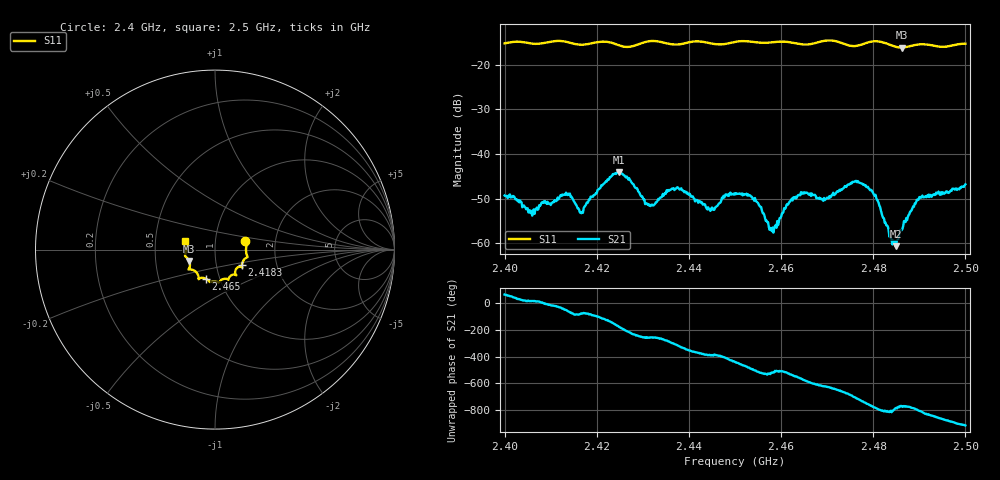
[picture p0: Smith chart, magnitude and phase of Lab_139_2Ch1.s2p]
# Hz S RI R 50
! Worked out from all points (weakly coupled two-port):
!   601 points, 2.4 GHz to 2.5 GHz, reference 50 ohm
!   highest |S21| = -44.11 dB at 2.4248 GHz (marker M1); lowest = -60.7 dB at 2.4848 GHz (marker M2)
!   lowest |S11| = -16.1 dB at 2.4862 GHz (marker M3), VSWR 1.37, Z = 37.2 - j4.81 ohm
!   |S11| at or under -10 dB: start of sweep to end of sweep
!   S12 and S22 are empty: the file has one direction only
!   S11 on the Smith chart (normalised r, x): 2.4 GHz: 1.40, +0.13; 2.4183 GHz: 1.33, -0.24; 2.465 GHz: 0.86, -0.28; 2.5 GHz: 0.71, +0.07
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2.4e9  0.1685 0.0466  0.00147 0.00308  0 0  0 0
2.406e9  0.1735 0.00865  0.00195 0.000556  0 0  0 0
2.413667e9  0.1749 -0.0452  0.00177 -0.00297  0 0  0 0
2.416667e9  0.1546 -0.0676  0.000519 -0.0021  0 0  0 0
2.418333e9  0.1498 -0.0864  0.00029 -0.00309  0 0  0 0
2.424833e9  0.1357 -0.0956  -0.00622 -0.000262  0 0  0 0
2.431e9  0.1167 -0.1416  -0.000656 0.00263  0 0  0 0
2.433333e9  0.1174 -0.1411  -0.000424 0.0031  0 0  0 0
2.437833e9  0.0839 -0.1481  0.00317 0.00254  0 0  0 0
2.445e9  0.0621 -0.1624  0.00215 -0.00128  0 0  0 0
2.45e9  0.0254 -0.1799  0.00053 -0.00347  0 0  0 0
2.4545e9  0.0115 -0.1798  -0.00243 -0.00172  0 0  0 0
2.458e9  -0.0172 -0.1785  -0.00128 -0.000466  0 0  0 0
2.465e9  -0.0526 -0.1613  -0.00298 0.00221  0 0  0 0
2.466667e9  -0.0712 -0.1572  -0.00182 0.00311  0 0  0 0
2.477167e9  -0.1235 -0.1131  0.00468 -0.000626  0 0  0 0
2.480167e9  -0.1475 -0.1108  0.00174 -0.00301  0 0  0 0
2.483333e9  -0.1409 -0.0966  -0.000111 -0.00139  0 0  0 0
2.484833e9  -0.1394 -0.0792  0.000352 -0.000852  0 0  0 0
2.486167e9  -0.1435 -0.063  0.000879 -0.00108  0 0  0 0
2.490167e9  -0.1667 -0.0365  9.61e-05 -0.00329  0 0  0 0
2.5e9  -0.167 0.0467  -0.00438 0.00127  0 0  0 0
